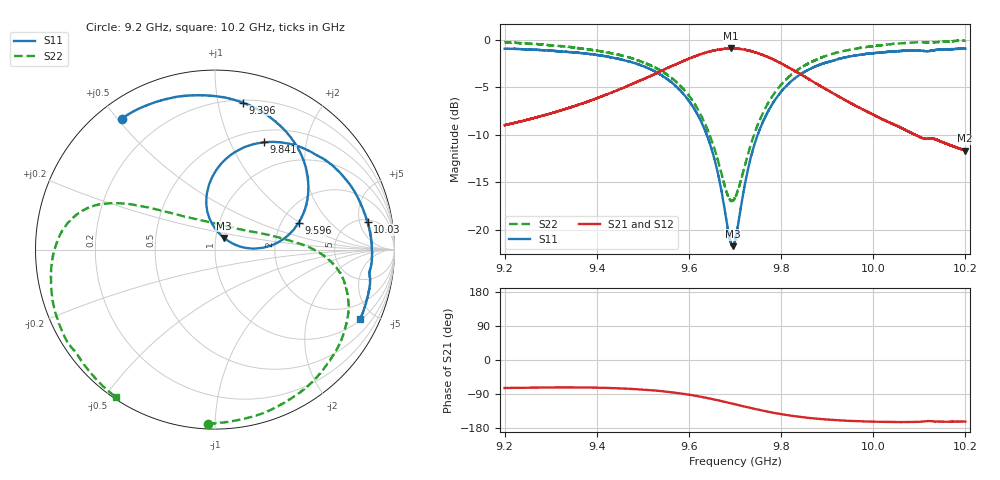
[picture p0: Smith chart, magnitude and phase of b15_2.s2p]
!Agilent Technologies,N5242A,MY51221714,A.09.90.19
!Agilent N5242A: A.09.90.19
!Date: Saturday, March 16, 2024 09:32:31
!Correction: S11(Full 2 Port(1,2))
!S21(Full 2 Port(1,2))
!S12(Full 2 Port(1,2))
!S22(Full 2 Port(1,2))
!S2P File: Measurements: S11, S21, S12, S22:
# Hz S  dB  R 50
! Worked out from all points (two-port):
!   16001 points, 9.2 GHz to 10.2 GHz, reference 50 ohm
!   highest |S21| = -0.92 dB at 9.692 GHz (marker M1); lowest = -11.7 dB at 10.2 GHz (marker M2)
!   |S21| within 3 dB of the highest: 9.512077 GHz to 9.512162 GHz (84.71 kHz wide, 0.000891 % of centre); 9.512 GHz to 9.852 GHz (339.9 MHz wide, 3.51 % of centre)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
!   lowest |S11| = -21.7 dB at 9.695 GHz (marker M3), VSWR 1.18, Z = 54.8 + j7.17 ohm
!   |S11| at or under -10 dB: 9.639 GHz to 9.749 GHz (110.8 MHz wide, 1.14 % of centre)
!   |S22| runs from -17.0 to -0.1 dB; largest |S21 - S12| = 0.012
!   S11 on the Smith chart (normalised r, x): 9.2 GHz: 0.07, +0.51; 9.396 GHz: 0.22, +1.18; 9.596 GHz: 2.47, +0.98; 9.841 GHz: 0.64, +1.34; 10.03 GHz: 5.44, +6.66; 10.2 GHz: 1.06, -4.17
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9.2e9  -0.96 125.4  -8.99 -74.0  -8.98 -74.5  -0.26 -92.2
9.27775e9  -1.09 107.9  -8.06 -72.6  -8.04 -73.1  -0.49 -70.7
9.366688e9  -1.42 86.9  -6.74 -72.5  -6.72 -73.1  -0.93 -47.3
9.396438e9  -1.58 79.3  -6.22 -72.9  -6.21 -73.6  -1.13 -39.8
9.463875e9  -2.22 60.9  -4.93 -75.6  -4.92 -76.2  -1.80 -24.0
9.533375e9  -3.53 39.5  -3.44 -81.3  -3.43 -81.9  -3.10 -9.7
9.59625e9  -6.19 17.9  -2.08 -90.9  -2.07 -91.4  -5.65 1.5
9.64925e9  -11.53 2.2  -1.20 -102.8  -1.19 -103.3  -10.60 16.8
9.691625e9  -21.45 40.6  -0.92 -114.4  -0.91 -115.0  -16.95 72.6
9.695125e9  -21.72 52.3  -0.93 -115.5  -0.91 -116.0  -16.94 81.0
9.7e9  -21.16 68.2  -0.94 -116.9  -0.91 -117.5  -16.66 92.3
9.729e9  -13.45 101.4  -1.13 -125.2  -1.12 -125.9  -11.90 133.2
9.75375e9  -9.42 96.8  -1.50 -131.9  -1.48 -132.6  -8.44 144.5
9.799938e9  -5.48 80.8  -2.48 -142.8  -2.49 -143.4  -4.74 153.6
9.841438e9  -3.66 65.6  -3.61 -150.1  -3.60 -150.7  -2.99 159.6
9.866688e9  -2.99 57.0  -4.35 -153.7  -4.32 -154.2  -2.32 163.4
9.950375e9  -1.75 31.7  -6.65 -160.7  -6.66 -161.2  -1.05 178.4
1.003338e10  -1.28 10.4  -8.67 -163.4  -8.66 -164.0  -0.49 -163.9
1.003388e10  -1.27 10.3  -8.69 -163.4  -8.67 -164.0  -0.49 -163.9
1.010694e10  -1.17 -6.6  -10.36 -162.5  -10.34 -163.0  -0.26 -147.2
1.019944e10  -0.96 -25.3  -11.67 -162.2  -11.64 -163.1  -0.09 -123.9
1.02e10  -0.95 -25.5  -11.65 -162.4  -11.64 -163.0  -0.08 -123.7
